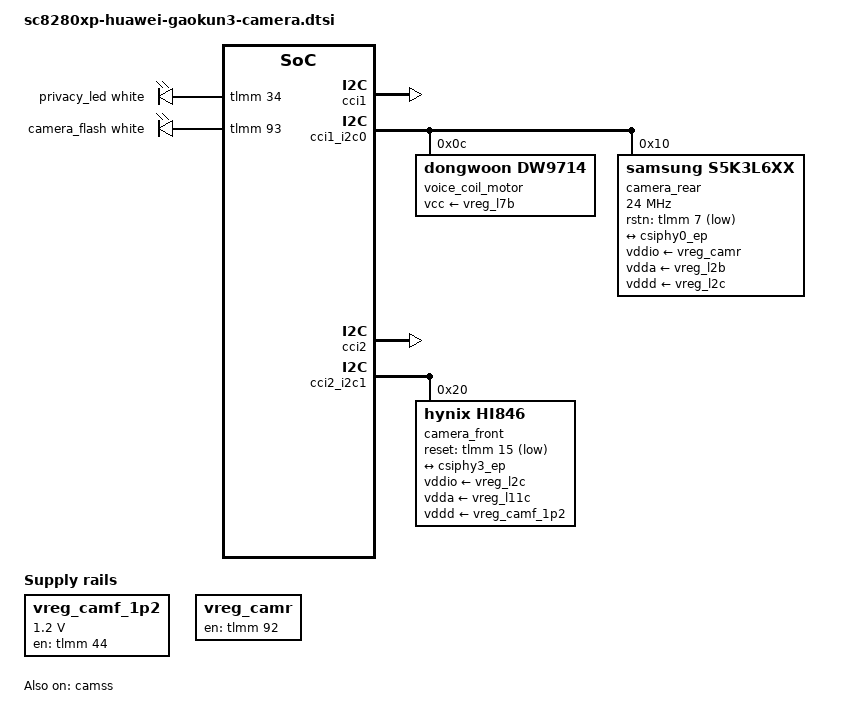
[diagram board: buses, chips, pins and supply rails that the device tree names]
// SPDX-License-Identifier: BSD-3-Clause
/*
 * Copyright (c) 2021, The Linux Foundation. All rights reserved.
 */

#include <dt-bindings/leds/common.h>

/* remove due to gpio pins collision, skip 2nd instance won't break things */
/delete-node/ &cci1_i2c1;
/delete-node/ &cci1_i2c1_default;
/delete-node/ &cci1_i2c1_sleep;

/* override */
/delete-node/ &vreg_l2b;

/ {
	aliases {
		i2c1 = &cci1_i2c0;
		i2c2 = &cci2_i2c1;
	};

	leds {
		compatible = "gpio-leds";

		pinctrl-0 = <&cam_indicator_en>, <&camera_flash_en>;
		pinctrl-names = "default";

		privacy_led: privacy-led {
			function = LED_FUNCTION_INDICATOR;
			color = <LED_COLOR_ID_WHITE>;
			gpios = <&tlmm 34 GPIO_ACTIVE_HIGH>;
			default-state = "off";
			panic-indicator;
		};

		camera_flash: led {
			function = LED_FUNCTION_FLASH;
			color = <LED_COLOR_ID_WHITE>;
			gpios = <&tlmm 93 GPIO_ACTIVE_HIGH>;
			linux,default-trigger = "none";
			default-state = "off";
		};
	};

	vreg_camf_1p2: regulator-camf-1p2 {
		compatible = "regulator-fixed";

		regulator-name = "vreg_camf_1p2";
		regulator-min-microvolt = <1200000>;
		regulator-max-microvolt = <1200000>;

		gpio = <&tlmm 44 GPIO_ACTIVE_HIGH>;
		enable-active-high;

		pinctrl-0 = <&camf_1p2_reg_en>;
		pinctrl-names = "default";
	};

	vreg_camr: regulator-camr {
		compatible = "regulator-fixed";

		regulator-name = "vreg_camr";

		gpio = <&tlmm 92 GPIO_ACTIVE_HIGH>;
		enable-active-high;

		pinctrl-0 = <&camr_reg_en>;
		pinctrl-names = "default";
	};
};

&apps_rsc {
	regulators-0 {
		vreg_l2b: ldo2 {
			regulator-name = "vreg_l2b";
			regulator-min-microvolt = <1800000>;
			regulator-max-microvolt = <2800000>;
			regulator-initial-mode = <RPMH_REGULATOR_MODE_HPM>;
		};

		vreg_l7b: ldo7 {
			regulator-name = "vreg_l7b";
			regulator-min-microvolt = <2800000>;
			regulator-max-microvolt = <2800000>;
			regulator-initial-mode = <RPMH_REGULATOR_MODE_HPM>;
		};
	};

	regulators-1 {
		vreg_l2c: ldo2 {
			regulator-name = "vreg_l2c";
			regulator-min-microvolt = <1800000>;
			regulator-max-microvolt = <1800000>;
			regulator-initial-mode = <RPMH_REGULATOR_MODE_HPM>;
			/* may be used in audio codec driver (ACD) too */
			// regulator-allow-set-load;
			// regulator-allowed-modes = <RPMH_REGULATOR_MODE_LPM
			// 			   RPMH_REGULATOR_MODE_HPM>;
			regulator-always-on;
		};

		vreg_l11c: ldo11 {
			regulator-name = "vreg_l11c";
			regulator-min-microvolt = <2800000>;
			regulator-max-microvolt = <2800000>;
			regulator-initial-mode = <RPMH_REGULATOR_MODE_HPM>;
		};
	};
};

&camss {
	/*
	 * CSIPHY0, CSIPHY1 1.2v = l4d, 0.88v = l6d
	 * CSIPHY2, CSIPHY3 1.2v = l3b, 0.88v = l6b
	 *
	 * drivers/media/platform/qcom/camss/camss.c
	 */

	vdda-phy-supply = <&vreg_l6b>;
	vdda-pll-supply = <&vreg_l3b>;

	status = "okay";

	ports {
		port@0 {
			csiphy0_ep: endpoint@0 {
				reg = <0>;

				clock-lanes = <7>;
				data-lanes = <0 1 2 3>;
				remote-endpoint = <&s5k3l6_ep>;
			};
		};

		port@3 {
			csiphy3_ep: endpoint@0 {
				reg = <0>;

				clock-lanes = <7>;
				data-lanes = <0 1 2 3>;
				remote-endpoint = <&hi846_ep>;
			};
		};
	};
};

&cci1 {
	status = "okay";
};

&cci1_i2c0 {
	voice_coil_motor: vcm@c {
		compatible = "dongwoon,dw9714";
		reg = <0xc>;
		vcc-supply = <&vreg_l7b>; /* FIXME: require l2c on first */
	};

	/*
	 * https://source.puri.sm/Librem5/linux/-/blob/pureos/latest/drivers/media/i2c/s5k3l6xx.c
	 *
	 * poor image quality, no plan to extract downstream registers
	 * configuration for it. I think nobody uses camera without tuning
	 * to take photos. Front camera with conference is enough.
	 *
	 * This sensor has never been detected on 2023 model
	 */
	camera_rear: camera@10 {
		compatible = "samsung,s5k3l6xx";
		reg = <0x10>;

		pinctrl-0 = <&camr_rgb_default>;
		pinctrl-names = "default";

		clocks = <&camcc CAMCC_MCLK4_CLK>;
		clock-names = "mclk";
		clock-frequency = <24000000>;

		rstn-gpios = <&tlmm 7 GPIO_ACTIVE_LOW>;

		vddio-supply = <&vreg_camr>;
		vdda-supply = <&vreg_l2b>; // 2.8v
		vddd-supply = <&vreg_l2c>; // 1.8v

		leds = <&privacy_led>; // &camera_flash can't be enabled for now
		led-names = "privacy";

		lens-focus = <&voice_coil_motor>;

		orientation = <1>;
		rotation = <180>; /* FIXME */

		port {
			s5k3l6_ep: endpoint {
				data-lanes = <1 2 3 4>;
				remote-endpoint = <&csiphy0_ep>;
			};
		};
	};

	// eeprom@50/51 <= l2c
};

&cci2 {
	status = "okay";
};

&cci2_i2c1 {
	// ??? @10 appears when CAMCC_MCLK3_CLK@19.2MHz
	// On 2023 model, S5K4H7@2d, image quality is better than hi846

	camera_front: camera@20 {
		compatible = "hynix,hi846";
		reg = <0x20>;

		pinctrl-0 = <&camf_rgb_default>;
		pinctrl-names = "default";

		clocks = <&camcc CAMCC_MCLK3_CLK>;

		assigned-clocks = <&camcc CAMCC_MCLK3_CLK>;
		assigned-clock-rates = <24000000>;

		reset-gpios = <&tlmm 15 GPIO_ACTIVE_LOW>;
		vddio-supply = <&vreg_l2c>;
		vdda-supply = <&vreg_l11c>;
		vddd-supply = <&vreg_camf_1p2>;

		leds = <&privacy_led>;
		led-names = "privacy";

		orientation = <0>;	/* Front facing */
		rotation = <0>;

		port {
			hi846_ep: endpoint {
				data-lanes = <1 2 3 4>;
				link-frequencies = /bits/ 64 <80000000 144000000 200000000 288000000>;
				remote-endpoint = <&csiphy3_ep>;
			};
		};
	};

	// eeprom@50
	// actuator???@58, 2023 only
};

&tlmm {
	cam_indicator_en: cam-indicator-en-state {
		pins = "gpio34";
		function = "gpio";
		drive-strength = <2>;
		bias-disable;
	};

	camera_flash_en: camera-flash-en-state {
		pins = "gpio93";
		function = "gpio";
		drive-strength = <2>;
		bias-disable;
	};

	camf_1p2_reg_en: camf-1p2-reg-en-state {
		pins = "gpio44";
		function = "gpio";
		drive-strength = <2>;
		bias-disable;
	};

	camr_reg_en: camr-reg-en-state {
		pins = "gpio92";
		function = "gpio";
		drive-strength = <2>;
		bias-disable;
	};

	camf_rgb_default: camf-rgb-default-state {
		mclk-pins {
			pins = "gpio17";
			function = "cam_mclk";
			drive-strength = <6>;
			bias-disable;
		};

		sc-rgb-xshut-n-pins {
			pins = "gpio15";
			function = "gpio";
			drive-strength = <2>;
			bias-disable;
		};
	};

	camr_rgb_default: camr-rgb-default-state {
		mclk-pins {
			pins = "gpio6";
			function = "cam_mclk";
			drive-strength = <6>;
			bias-disable;
		};

		sc-rgb-xshut-n-pins {
			pins = "gpio7";
			function = "gpio";
			drive-strength = <2>;
			bias-disable;
		};
	};
};
